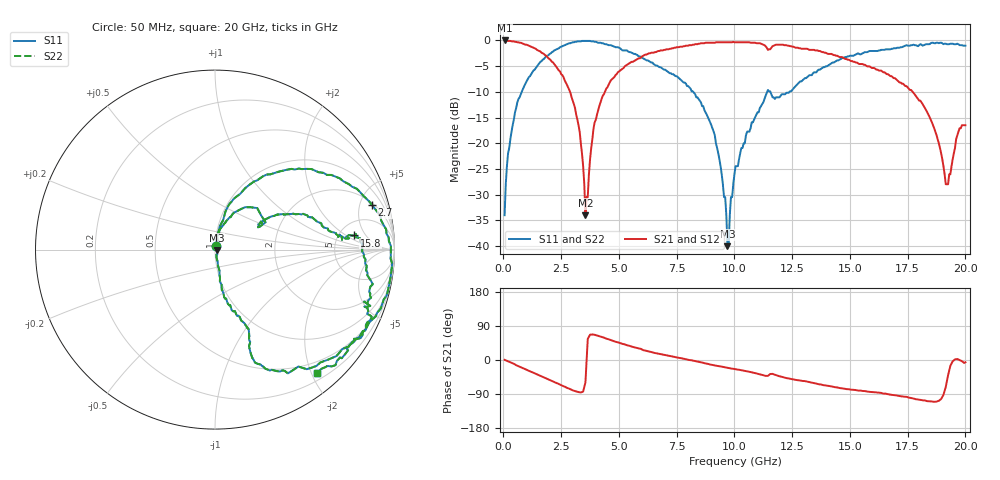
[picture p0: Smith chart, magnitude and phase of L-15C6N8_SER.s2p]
# MHZ S MA R 50
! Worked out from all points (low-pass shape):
!   400 points, 50 MHz to 20 GHz, reference 50 ohm
!   highest |S21| = 0.00 dB at 50 MHz (marker M1); lowest = -34.0 dB at 3.55 GHz (marker M2)
!   |S21| within 3 dB of the highest: start of sweep to 1.855 GHz; 6.04 GHz to 14.46 GHz (8.42 GHz wide, 82.2 % of centre)
!   lowest |S11| = -40.0 dB at 9.7 GHz (marker M3), VSWR 1.02, Z = 51 - j0.243 ohm
!   |S11| at or under -10 dB: start of sweep to 790.8 MHz; 8.219 GHz to 11.42 GHz (3.197 GHz wide, 32.6 % of centre); 11.56 GHz to 12.38 GHz (822.1 MHz wide, 6.87 % of centre)
!   |S22| runs from -40.0 to -0.1 dB; largest |S21 - S12| = 0
!   S11 on the Smith chart (normalised r, x): 50 MHz: 1.01, +0.04; 2.7 GHz: 2.24, +6.45; 15.8 GHz: 6.94, +2.80; 20 GHz: 0.32, -2.08
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50  0.02 76.1  1 0.4  1 0.4  0.02 76.1
200  0.08 81.0  0.99 -3.6  0.99 -3.6  0.08 81.0
650  0.27 72.2  0.96 -16.3  0.96 -16.3  0.27 72.2
1750  0.66 42.8  0.74 -45.8  0.74 -45.8  0.66 42.8
2700  0.91 15.8  0.39 -71.9  0.39 -71.9  0.91 15.8
3400  0.99 -4.5  0.08 -84.6  0.08 -84.6  0.99 -4.5
3550  0.99 -9.0  0.02 -58.9  0.02 -58.9  0.99 -9.0
3900  0.98 -19.6  0.14 67.0  0.14 67.0  0.98 -19.6
4300  0.94 -31.1  0.29 60.2  0.29 60.2  0.94 -31.1
5350  0.8 -59.5  0.58 38.9  0.58 38.9  0.8 -59.5
6700  0.56 -69.8  0.79 16.8  0.79 16.8  0.56 -69.8
9000  0.15 -79.8  0.95 -12.4  0.95 -12.4  0.15 -79.8
9600  0.03 -64.9  0.96 -19.4  0.96 -19.4  0.03 -64.9
9700  0.01 -13.8  0.96 -20.6  0.96 -20.6  0.01 -13.8
10050  0.06 77.7  0.96 -24.2  0.96 -24.2  0.06 77.7
11450  0.33 44.5  0.81 -41.9  0.81 -41.9  0.33 44.5
13350  0.46 25.4  0.81 -59.8  0.81 -59.8  0.46 25.4
15800  0.78 5.8  0.56 -83.7  0.56 -83.7  0.78 5.8
16700  0.82 0.0  0.46 -90.9  0.46 -90.9  0.82 0.0
18350  0.92 -22.9  0.2 -108.7  0.2 -108.7  0.92 -22.9
19150  0.93 -33.5  0.04 -71.3  0.04 -71.3  0.93 -33.5
20000  0.89 -50.5  0.15 -5.9  0.15 -5.9  0.89 -50.5
